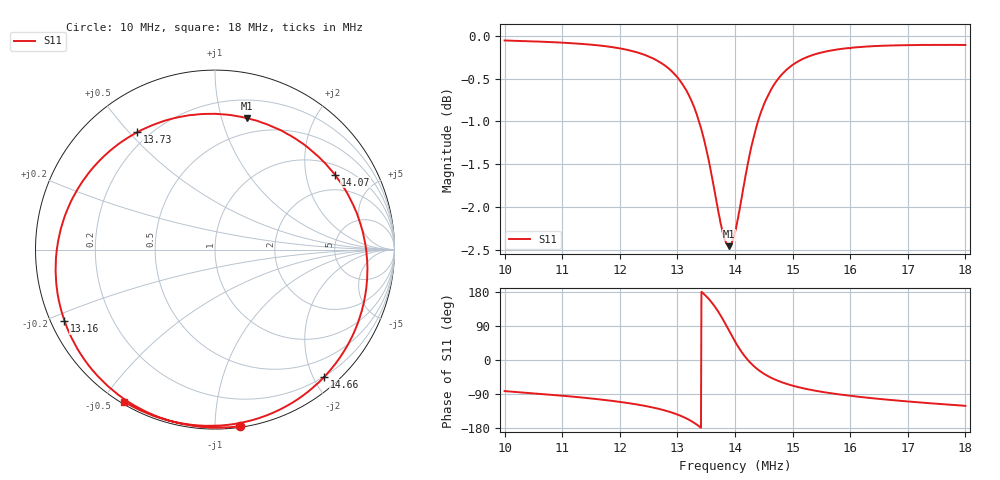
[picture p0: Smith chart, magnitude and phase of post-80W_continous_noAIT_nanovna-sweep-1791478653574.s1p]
! NanoVNA Web complex sweep
! Processing: unaveraged complex samples; linear segment spacing; no smoothing
# Hz S RI R 50
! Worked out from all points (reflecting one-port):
!   1010 points, 10 MHz to 18 MHz, reference 50 ohm
!   lowest |S11| = -2.5 dB at 13.9 MHz (marker M1), VSWR 7.11, Z = 17.9 + j60.4 ohm
!   phase of S11 starts at -82 deg and turns -399 deg over the sweep
!   S11 on the Smith chart (normalised r, x): 10 MHz: 0.01, -1.15; 13.16 MHz: 0.04, -0.22; 13.73 MHz: 0.16, +0.53; 14.07 MHz: 1.33, +2.94; 14.66 MHz: 0.19, -2.16; 18 MHz: 0.01, -0.57
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1e7  0.1371 -0.9842
1.100698e7  -0.0738 -0.988
1.200604e7  -0.3464 -0.92
1.23232e7  -0.4587 -0.863
1.259278e7  -0.5695 -0.7845
1.28148e7  -0.6723 -0.6838
1.300509e7  -0.766 -0.5538
1.316367e7  -0.839 -0.3963
1.335397e7  -0.8881 -0.1186
1.349669e7  -0.8435 0.1663
1.361562e7  -0.6972 0.4353
1.372663e7  -0.4323 0.6545
1.381385e7  -0.1428 0.7487
1.390107e7  0.1783 0.7319
1.394864e7  0.344 0.6748
1.400414e7  0.5151 0.5708
1.406758e7  0.6682 0.4176
1.417065e7  0.812 0.1388
1.428166e7  0.8488 -0.1423
1.436888e7  0.8217 -0.3258
1.446403e7  0.7632 -0.4859
1.466225e7  0.609 -0.7088
1.482083e7  0.4877 -0.815
1.50032e7  0.3635 -0.8904
1.544722e7  0.1281 -0.9682
1.600225e7  -0.0766 -0.9801
1.700131e7  -0.3285 -0.9312
1.800036e7  -0.5082 -0.8469
